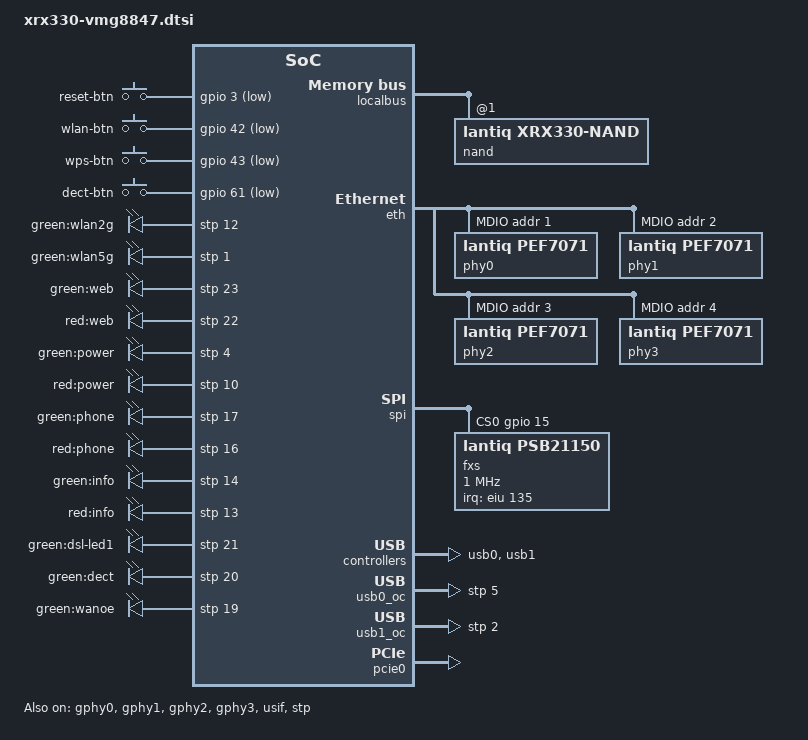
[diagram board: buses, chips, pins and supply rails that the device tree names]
// SPDX-License-Identifier: GPL-2.0
/*
 * Copyright (C) 2014-2019 Sphairon GmbH (a Zyxel company)
 */

#include <dt-bindings/gpio/gpio.h>
#include <dt-bindings/interrupt-controller/irq.h>
#include "xrx330.dtsi"

/ {
	gpio-keys-polled {
		compatible = "gpio-keys-polled";
		#address-cells = <1>;
		#size-cells = <0>;
		poll-interval = <101>;

		pinctrl-names = "default";
		pinctrl-0 = <&pins_gpio_keys_default>;

		reset {
			label = "reset-btn";
			gpios = <&gpio 3 GPIO_ACTIVE_LOW>;
			linux,code = <0x100>;	/* BTN_0 */
		};
		wlan {
			label = "wlan-btn";
			gpios = <&gpio 42 GPIO_ACTIVE_LOW>;
			linux,code = <0x101>;	/* BTN_1 */
		};
		wps {
			label = "wps-btn";
			gpios = <&gpio 43 GPIO_ACTIVE_LOW>;
			linux,code = <0x102>;	/* BTN_2 */
		};
		dect {
			label = "dect-btn";
			gpios = <&gpio 61 GPIO_ACTIVE_LOW>;
			linux,code = <0x103>;	/* BTN_3 */
		};
	};

	gpio-leds {
		compatible = "gpio-leds";

		wlan_green_2g {
			label = "green:wlan2g";
			gpios = <&stp 12 GPIO_ACTIVE_HIGH>;
			default-state = "off";
		};
		wlan_green_5g {
			label = "green:wlan5g";
			gpios = <&stp 1 GPIO_ACTIVE_HIGH>;
			default-state = "off";
		};
		web_green {
			label = "green:web";
			gpios = <&stp 23 GPIO_ACTIVE_HIGH>;
			default-state = "off";
		};
		web_red {
			label = "red:web";
			gpios = <&stp 22 GPIO_ACTIVE_HIGH>;
			default-state = "off";
		};
		power_green {
			label = "green:power";
			gpios = <&stp 4 GPIO_ACTIVE_HIGH>;
			default-state = "off";
		};
		power_red {
			label = "red:power";
			gpios = <&stp 10 GPIO_ACTIVE_HIGH>;
			default-state = "on";
		};
		phone_green {
			label = "green:phone";
			gpios = <&stp 17 GPIO_ACTIVE_HIGH>;
			default-state = "off";
		};
		phone_red {
			label = "red:phone";
			gpios = <&stp 16 GPIO_ACTIVE_HIGH>;
			default-state = "off";
		};
		info_green {
			label = "green:info";
			gpios = <&stp 14 GPIO_ACTIVE_HIGH>;
			default-state = "off";
		};
		info_red {
			label = "red:info";
			gpios = <&stp 13 GPIO_ACTIVE_HIGH>;
			default-state = "off";
		};
		dsl_green {
			label = "green:dsl-led1";
			gpios = <&stp 21 GPIO_ACTIVE_HIGH>;
			default-state = "off";
		};
		dect_green {
			label = "green:dect";
			gpios = <&stp 20 GPIO_ACTIVE_HIGH>;
			default-state = "off";
		};
		wanoe_green {
			label = "green:wanoe";
			gpios = <&stp 19 GPIO_ACTIVE_HIGH>;
			default-state = "off";
		};
	};

	uevent-leds {
		compatible = "uevent-leds";

		wlan_wps5g {
			label = "amber:wps5g";
			backend = "qtn-qcsapi.1";
		};

		wlan_wps2g {
			label = "amber:wps2g";
			backend = "mt7620.led1";
		};
	};

	sph_platform {
		#address-cells = <1>;
		#size-cells = <0>;
		compatible = "sphairon,platform";

		wlan_pwr {
			label = "wlan-pwr";
			gpios = <&stp 0 GPIO_ACTIVE_HIGH>;
			default-state = "off";
		};
		wlan_2g_rst {
			label = "wlan-2g-rst";
			gpios = <&stp 8 GPIO_ACTIVE_LOW>;
			default-state = "on";
		};
		wlan_5g_rst {
			label = "wlan-5g-rst";
			gpios = <&stp 7 GPIO_ACTIVE_LOW>;
			default-state = "on";
		};
	};
};

&gpio {
	pinctrl-names = "default";
	pinctrl-0 = <&pins_default>;

	pins_default: pins_default {
	};

	pins_gpio_keys_default: pins_gpio_keys_default {
		gpio_in {
			lantiq,pins = "io3", "io42", "io43",
					"io61";
			lantiq,output = <0>;
		};
	};

	pins_nand_default: pins_nand_default {
		nand_out {
			lantiq,groups = "nand cs1", "nand cle",
					"nand ale", "nand rd",
					"nand wr", "nand wp",
					"nand data";
			lantiq,function = "ebu";
			lantiq,output = <1>;
		};
		nand_in {
			lantiq,groups = "nand rdy";
			lantiq,function = "ebu";
			lantiq,output = <0>;
		};
	};

	pins_psb21150_default: pins_psb21150_default {
		exin1 {
			lantiq,groups = "exin1";
			lantiq,function = "exin";
			lantiq,pull = <0>;
			lantiq,output = <0>;
		};
	};

	pins_spi_default: pins_spi_default {
		spi_in {
			lantiq,groups = "spi_din";
			lantiq,function = "spi";
			lantiq,output = <0>;
		};
		spi_out {
			lantiq,groups = "spi_dout", "spi_clk";
			lantiq,function = "spi";
			lantiq,output = <1>;
		};
		cs {
			lantiq,pins = "io15";
			lantiq,output = <1>;
			lantiq,drive = <1>;
		};
	};

	pins_stp_default: pins_stp_default {
		stp {
			lantiq,groups = "stp";
			lantiq,function = "stp";
			lantiq,output = <1>;
		};
	};

	pins_usif_spi_default: pins_usif_spi_default {
		usif_in {
			lantiq,groups = "usif din";
			lantiq,function = "usif";
			lantiq,pull = <2>;
			lantiq,output = <0>;
		};
		usif_out {
			lantiq,groups = "usif dout";
			lantiq,function = "usif";
			lantiq,output = <1>;
			lantiq,drive = <1>;
		};
		usif_clk {
			lantiq,groups = "usif clk drive";
			lantiq,function = "gpio";
			lantiq,output = <1>;
			lantiq,drive = <1>;
			lantiq,open-drain = <0>;
		};
	};

	pins_usif_clk_active: pins_usif_clk_active{
		usif_clk {
			lantiq,groups = "usif clk";
			lantiq,function = "usif";
			lantiq,output = <1>;
		};
	};

	pins_usif_clk_high: pins_usif_clk_high {
		usif_clk {
			lantiq,groups = "usif clk drive";
			lantiq,function = "gpio";
			lantiq,output = <1>;
			lantiq,drive = <1>;
		};
	};

	pins_usif_clk_low: pins_usif_clk_low {
		usif_clk {
			lantiq,groups = "usif clk drive";
			lantiq,function = "gpio";
			lantiq,output = <1>;
			lantiq,drive = <0>;
		};
	};

	pins_tdm_default: pins_tdm_default {
		tdm_clock {
			lantiq,groups = "tdm fsc", "tdm dcl";
			lantiq,function = "gpio";
			lantiq,pull = <2>;
			lantiq,open-drain = <0>;
			lantiq,output = <0>;
		};
		tdm_data {
			lantiq,groups = "tdm di", "tdm do";
			lantiq,function = "gpio";
			lantiq,pull = <2>;
			lantiq,open-drain = <1>;
			lantiq,output = <0>;
		};
	};

	pins_tdm_master: pins_tdm_master {
		tdm_clock {
			lantiq,groups = "tdm fsc", "tdm dcl";
			lantiq,function = "tdm";
			lantiq,pull = <0>;
			lantiq,open-drain = <0>;
			lantiq,output = <1>;
		};
		tdm_di {
			lantiq,groups = "tdm di";
			lantiq,function = "tdm";
			lantiq,pull = <2>;
			lantiq,open-drain = <0>;
			lantiq,output = <0>;
		};
		tdm_do {
			lantiq,groups = "tdm do";
			lantiq,function = "tdm";
			lantiq,pull = <0>;
			lantiq,open-drain = <1>;
			lantiq,output = <1>;
		};
	};

	pins_tdm_slave: pins_tdm_slave {
		tdm_clock {
			lantiq,groups = "tdm fsc", "tdm dcl";
			lantiq,function = "tdm";
			lantiq,pull = <2>;
			lantiq,open-drain = <0>;
			lantiq,output = <0>;
		};
		tdm_di {
			lantiq,groups = "tdm di";
			lantiq,function = "tdm";
			lantiq,pull = <2>;
			lantiq,open-drain = <0>;
			lantiq,output = <0>;
		};
		tdm_do {
			lantiq,groups = "tdm do";
			lantiq,function = "tdm";
			lantiq,pull = <0>;
			lantiq,open-drain = <1>;
			lantiq,output = <1>;
		};
	};

	pins_ssio_default: pins_ssio_default {
		ssio_out {
			lantiq,groups = "ssio tx";
			lantiq,function = "ssio";
			lantiq,output = <1>;
		};
		ssio_in {
			lantiq,groups = "ssio rx", "ssio clk";
			lantiq,function = "ssio";
			lantiq,output = <0>;
		};
		clk {
			lantiq,groups = "clkout0";
			lantiq,function = "cgu";
			lantiq,output = <1>;
		};
		slic_reset {
			lantiq,pins = "io0";
			lantiq,pull = <0>;
			lantiq,open-drain = <0>;
			lantiq,output = <1>;
			lantiq,drive = <1>;
		};
	};
};

&mps {
	pinctrl-names = "default", "master", "slave";
	pinctrl-0 = <&pins_tdm_default &pins_ssio_default>;
	pinctrl-1 = <&pins_tdm_master>;
	pinctrl-2 = <&pins_tdm_slave>;

	lantiq,slic-reset = <&gpio 0 GPIO_ACTIVE_HIGH>;
};

&localbus {
	nand@1 {
		compatible = "lantiq,xrx330-nand";
		reg = <1 0x0 0x2000000>;
		linux,mtd-name = "nand-xway";
		pinctrl-names = "default";
		pinctrl-0 = <&pins_nand_default>;
		nand-ecc-mode = "hw";
		bbt-use-flash;
	};
};

#if !defined(IS_UGW_61)
&gphy0 {
	lantiq,phy-mode = "11g";
	status = "ok";
};

&gphy1 {
	lantiq,phy-mode = "11g";
	status = "ok";
};

&gphy2 {
	lantiq,phy-mode = "11g";
	status = "ok";
};

&gphy3 {
	lantiq,phy-mode = "11g";
	status = "ok";
};
#endif

&eth {
#if defined(IS_UGW_61)
	gphy@0 {
		lantiq,phy-mode = "11g";
		status = "ok";
	};

	gphy@1 {
		lantiq,phy-mode = "11g";
		status = "ok";
	};

	gphy@2 {
		lantiq,phy-mode = "11g";
		status = "ok";
	};

	gphy@3 {
		lantiq,phy-mode = "11g";
		status = "ok";
	};
#endif

	mdio@0 {
		phy0: ethernet-phy@1 {
			compatible = "lantiq,pef7071", "ethernet-phy-ieee802.3-c22";
			/*interrupt-parent = <&icu0>;
			interrupts = <122>;*/
			reg = <0x1>;
			lantiq,led0 = <0x0>;
			lantiq,led1 = <0x7003>;
			lantiq,led2 = <0x0>;
		};

		phy1: ethernet-phy@2 {
			compatible = "lantiq,pef7071", "ethernet-phy-ieee802.3-c22";
			/*interrupt-parent = <&icu0>;
			interrupts = <121>;*/
			reg = <0x2>;
			lantiq,led0 = <0x0>;
			lantiq,led1 = <0x7003>;
			lantiq,led2 = <0x0>;
		};

		phy2: ethernet-phy@3 {
			compatible = "lantiq,pef7071", "ethernet-phy-ieee802.3-c22";
			/*interrupt-parent = <&icu0>;
			interrupts = <134>;*/
			reg = <0x3>;
			lantiq,led0 = <0x0>;
			lantiq,led1 = <0x7003>;
			lantiq,led2 = <0x0>;
		};

		phy3: ethernet-phy@4 {
			compatible = "lantiq,pef7071", "ethernet-phy-ieee802.3-c22";
			/*interrupt-parent = <&icu0>;
			interrupts = <28>;*/
			reg = <0x4>;
			lantiq,led0 = <0x0>;
			lantiq,led1 = <0x7003>;
			lantiq,led2 = <0x0>;
		};
	};

	ethernet@0 {
		phy-mode = "rgmii";
		lantiq,mii-isolate;
		status = "ok";
		lantiq,port-name = "sw-p0-wifi5g";
		fixed-link {
			speed = <1000>;
			full-duplex;
		};
	};

	ethernet@1 {
		phy-handle = <&phy0>;
		phy-mode = "gmii";
		status = "ok";
		lantiq,port-name = "sw-p1-lan2";
	};

	ethernet@2 {
		phy-handle = <&phy1>;
		phy-mode = "gmii";
		status = "ok";
		lantiq,port-name = "sw-p2-lan4";
		lantiq,wanoe;
	};

	ethernet@3 {
		phy-handle = <&phy2>;
		phy-mode = "gmii";
		status = "ok";
		lantiq,port-name = "sw-p3-lan1";
	};

	ethernet@4 {
		phy-handle = <&phy3>;
		phy-mode = "gmii";
		status = "ok";
		lantiq,port-name = "sw-p4-lan3";
	};

	ethernet@5 {
		phy-mode = "rgmii";
		lantiq,rgmii-tx-delay = <4>;
		lantiq,mii-isolate;
		status = "ok";
		lantiq,port-name = "sw-p5-wifi2g";
		fixed-link {
			speed = <1000>;
			full-duplex;
		};
	};
};

&spi {
	pinctrl-names = "default";
	pinctrl-0 = <&pins_spi_default &pins_psb21150_default>;

	status = "ok";

	cs-gpios = <&gpio 15 GPIO_ACTIVE_HIGH>;

	fxs: psb21150@0 {
		compatible = "lantiq,psb21150";
		reg = <0>;
		spi-max-frequency = <1000000>;
		spi-cpol;
		spi-cpha;
		interrupt-parent = <&eiu>;
		interrupts = <135 IRQ_TYPE_LEVEL_LOW>;
		lantiq,mode-lts;
		lantiq,iom2-channel = <0>;
		lantiq,dps;
	};
};

&usif {
	pinctrl-names = "default", "clk active", "clk high",
			"clk low";
	pinctrl-0 = <&pins_usif_spi_default &pins_usif_clk_low>;
	pinctrl-1 = <&pins_usif_clk_active>;
	pinctrl-2 = <&pins_usif_clk_high>;
	pinctrl-3 = <&pins_usif_clk_low>;

	status = "ok";
};

&usb0 {
	status = "ok";
};

&usb1 {
	status = "ok";
};

&usb0_oc {
	gpios = <&stp 5 GPIO_ACTIVE_HIGH>;
	status = "ok";
};

&usb1_oc {
	gpios = <&stp 2 GPIO_ACTIVE_HIGH>;
	status = "ok";
};

&stp {
	pinctrl-names = "default";
	pinctrl-0 = <&pins_stp_default>;

	status = "ok";

	lantiq,shadow = <0xc00>;
	lantiq,groups = <0x7>;
	lantiq,speed = <0x8>;
	lantiq,phy1 = <0x2>;
	lantiq,phy2 = <0x2>;
	lantiq,phy3 = <0x2>;
	lantiq,phy4 = <0x2>;
};

&pcie0 {
	status = "ok";
	lantiq,reset-gpio = <&stp 11 GPIO_ACTIVE_HIGH>;
	lantiq,rst-interval = <200>;
	lantiq,inbound-swap = <0>;
	lantiq,outbound-swap = <0>;
	lantiq,phy-mode = <1>;
};
